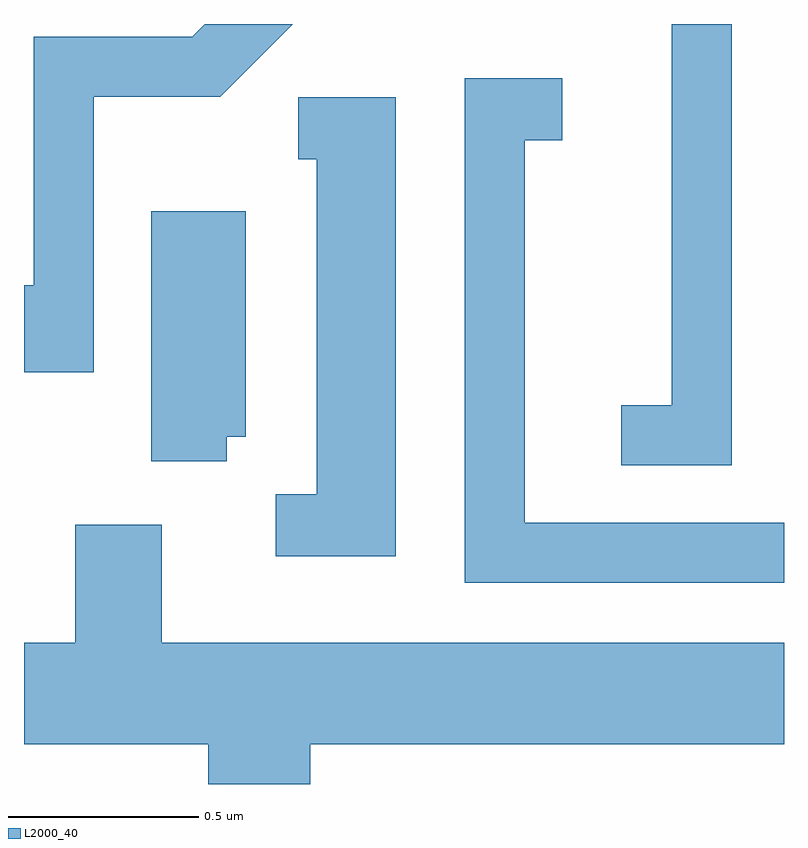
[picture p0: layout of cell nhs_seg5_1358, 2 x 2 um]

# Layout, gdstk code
import gdstk
lib = gdstk.Library(unit=1e-6, precision=1e-09)
def P(c, l, *ps):  # polygons
    for p in ps: c.add(gdstk.Polygon(p, *l))
L2000_40 = (2000, 40)

nhs_seg5_1358 = lib.new_cell('nhs_seg5_1358')
P(nhs_seg5_1358, L2000_40, [(194.794,1522.881),(195.127,1522.881),(195.318,1523.072),(195.087,1523.072),(195.054,1523.039),(194.636,1523.039),(194.636,1522.384),(194.611,1522.384),(194.611,1522.156),(194.794,1522.156)],
  [(196.474,1523.072),(196.316,1523.072),(196.316,1522.069),(196.183,1522.069),(196.183,1521.911),(196.474,1521.911)],
  [(196.611,1521.759),(195.929,1521.759),(195.929,1522.766),(196.028,1522.766),(196.028,1522.929),(195.771,1522.929),(195.771,1521.601),(196.611,1521.601)],
  [(195.589,1522.879),(195.333,1522.879),(195.333,1522.716),(195.381,1522.716),(195.381,1521.834),(195.273,1521.834),(195.273,1521.671),(195.589,1521.671)],
  [(195.144,1521.986),(195.194,1521.986),(195.194,1522.579),(194.946,1522.579),(194.946,1521.921),(195.144,1521.921)],
  [(195.364,1521.176),(196.611,1521.176),(196.611,1521.444),(194.974,1521.444),(194.974,1521.754),(194.746,1521.754),(194.746,1521.444),(194.611,1521.444),(194.611,1521.176),(195.096,1521.176),(195.096,1521.072),(195.364,1521.072)])

lib.write_gds('nhs_seg5_1358.gds')
